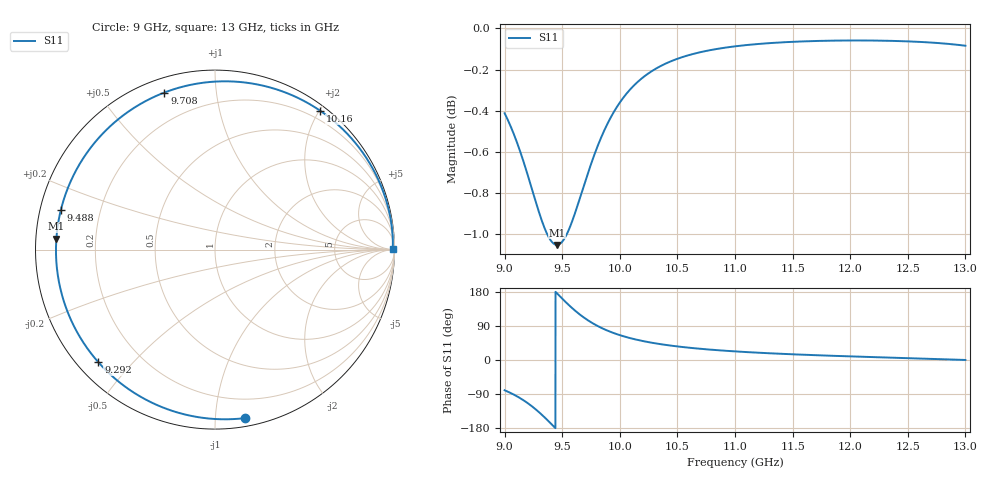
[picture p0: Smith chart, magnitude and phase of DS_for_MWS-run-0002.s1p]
! TOUCHSTONE file generated by CST DESIGN STUDIO
! Date and time: Wed Feb  5 13:38:11 2025
! Project name: C:\Work\MatlabApps\UnitCellOptimizationMatlab\CST\unitcell.cst
! Tree item: Tasks\Sweep1\SPara1\S-Parameters
! Header version: 2024
! Port assignment regex: !\s*Touchstone port\s*([0-9]+)\s*=\s*(CST MWS port|CST DES external port|CST DES block port)\s*(.+)\s* \(\"(.*)\"\)(\s*mode\s*([0-9]+))?.*
! Touchstone port assignment:
! Touchstone port 1 = CST DES external port 1 ("")
# GHz S MA R 50
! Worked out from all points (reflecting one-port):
!   4001 points, 9 GHz to 13 GHz, reference 50 ohm
!   lowest |S11| = -1.1 dB at 9.454 GHz (marker M1), VSWR 16.53, Z = 3.03 + j1.7 ohm
!   phase of S11 starts at -80 deg and turns -280 deg over the sweep
!   S11 on the Smith chart (normalised r, x): 9 GHz: 0.06, -1.19; 9.292 GHz: 0.06, -0.40; 9.488 GHz: 0.06, +0.13; 9.708 GHz: 0.06, +0.73; 10.16 GHz: 0.08, +2.01; 13 GHz: open
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9  0.9536 -79.8
9.09  0.941 -92.9
9.163  0.9284 -106.0
9.229  0.9156 -120.2
9.292  0.9034 -136.0
9.338  0.8956 -148.7
9.379  0.8902 -160.8
9.417  0.887 -172.4
9.454  0.8859 176.1
9.488  0.8868 165.6
9.5  0.8875 161.9
9.555  0.8931 145.7
9.605  0.9007 132.0
9.655  0.9096 119.6
9.708  0.9194 107.8
9.764  0.9292 97.1
9.828  0.9393 86.5
9.912  0.9503 75.2
10  0.9594 65.6
10.157  0.9706 52.8
10.313  0.9777 43.7
10.5  0.9831 35.8
10.723  0.9871 28.9
11  0.99 22.7
11.5  0.9925 15.0
12  0.9933 9.5
12.5  0.9928 4.9
13  0.9903 0.1
